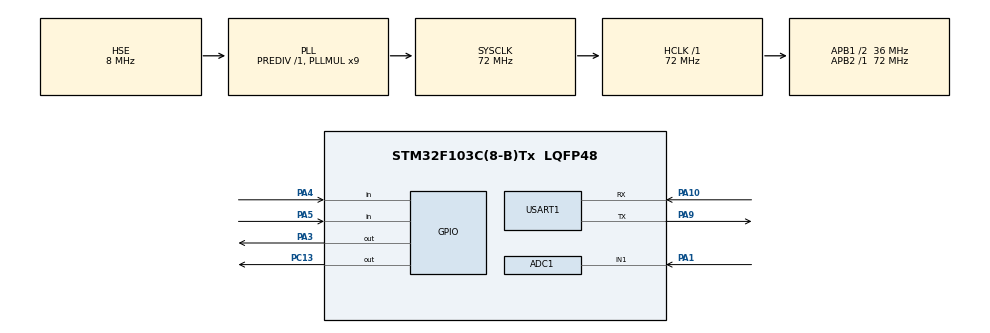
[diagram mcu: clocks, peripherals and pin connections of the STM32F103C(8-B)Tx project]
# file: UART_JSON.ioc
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ADC1.Channel-0\#ChannelRegularConversion=ADC_CHANNEL_1
ADC1.NbrOfConversionFlag=1
ADC1.Rank-0\#ChannelRegularConversion=1
ADC1.SamplingTime-0\#ChannelRegularConversion=ADC_SAMPLETIME_1CYCLE_5
ADC1.master=1
Mcu.Family=STM32F1
Mcu.Name=STM32F103C(8-B)Tx
Mcu.Package=LQFP48
NVIC.PriorityGroup=NVIC_PRIORITYGROUP_4
NVIC.USART1_IRQn=true\:1\:0\:true\:false\:true\:true\:true\:true
PA1.Signal=ADCx_IN1
PA10.Mode=Asynchronous
PA10.Signal=USART1_RX
PA13.Mode=Serial_Wire
PA13.Signal=SYS_JTMS-SWDIO
PA14.Mode=Serial_Wire
PA14.Signal=SYS_JTCK-SWCLK
PA3.Signal=GPIO_Output
PA4.GPIO_PuPd=GPIO_PULLUP
PA4.Signal=GPIO_Input
PA5.GPIO_PuPd=GPIO_PULLUP
PA5.Signal=GPIO_Input
PA9.Mode=Asynchronous
PA9.Signal=USART1_TX
PC13-TAMPER-RTC.PinState=GPIO_PIN_SET
PC13-TAMPER-RTC.Signal=GPIO_Output
PD0-OSC_IN.Mode=HSE-External-Oscillator
PD0-OSC_IN.Signal=RCC_OSC_IN
PD1-OSC_OUT.Mode=HSE-External-Oscillator
PD1-OSC_OUT.Signal=RCC_OSC_OUT
ProjectManager.HeapSize=0x200
ProjectManager.StackSize=0x400
ProjectManager.TargetToolchain=MDK-ARM V5.32
RCC.ADCPresc=RCC_ADCPCLK2_DIV6
RCC.AHBFreq_Value=72000000
RCC.APB1CLKDivider=RCC_HCLK_DIV2
RCC.APB1Freq_Value=36000000
RCC.APB1TimFreq_Value=72000000
RCC.APB2Freq_Value=72000000
RCC.APB2TimFreq_Value=72000000
RCC.HCLKFreq_Value=72000000
RCC.PLLMUL=RCC_PLL_MUL9
RCC.PLLSourceVirtual=RCC_PLLSOURCE_HSE
RCC.SYSCLKFreq_VALUE=72000000
RCC.SYSCLKSource=RCC_SYSCLKSOURCE_PLLCLK
RCC.USBFreq_Value=72000000
SH.ADCx_IN1.0=ADC1_IN1,IN1
USART1.VirtualMode=VM_ASYNC
board=custom

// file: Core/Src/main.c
/* USER CODE BEGIN Header */
/**
  ******************************************************************************
  * @file           : main.c
  * @brief          : Main program body
  ******************************************************************************
  * @attention
  *
  * Copyright (c) 2022 STMicroelectronics.
  * All rights reserved.
  *
  * This software is licensed under terms that can be found in the LICENSE file
  * in the root directory of this software component.
  * If no LICENSE file comes with this software, it is provided AS-IS.
  *
  ******************************************************************************
  */
/* USER CODE END Header */
#include "main.h"

/* USER CODE BEGIN Includes */
#include "stdio.h"
#include <stdint.h>
#include <stdbool.h>
#include <string.h>
#include <stdlib.h>
#include "cJSON.h"
/* USER CODE END Includes */

 ADC_HandleTypeDef hadc1;

UART_HandleTypeDef huart1;

void SystemClock_Config(void);
static void MX_GPIO_Init(void);
static void MX_ADC1_Init(void);
static void MX_USART1_UART_Init(void);

/* USER CODE BEGIN 0 */
void SendData(unsigned int ND, unsigned int DA, unsigned int trangthaiden, unsigned int trangthaiquat, unsigned int C1, unsigned int C2);
void ChuongtrinhCB();
void Received(void);
void HAL_UART_RxCpltCallback(UART_HandleTypeDef *huart);
void clearBuffer(void);
void XuLyJSON(char *DataJSON);
void Button(void);
int i = 0;
unsigned int ND = 0;
unsigned int DA = 0;
unsigned int trangthaiden = 0;
unsigned int trangthaiquat = 0;
unsigned int C1 = 0;
unsigned int C2 = 0;

char Str_ND[100];
char Str_DA[100];
char Str_TB1[100];
char Str_TB2[100];
char Str_C1[100];
char Str_C2[100];
char JSON[100];
char rx_buffer[200];

uint8_t rx_data;
unsigned int Index = 0;
long last;

cJSON *str_json, *str_TB1, *str_TB2, *str_C1, *str_C2, *str_Mode;
/* USER CODE END 0 */

int main(void)
{

  /* MCU Configuration--------------------------------------------------------*/

  /* Reset of all peripherals, Initializes the Flash interface and the Systick. */
  HAL_Init();

  /* Configure the system clock */
  SystemClock_Config();

  /* Initialize all configured peripherals */
  MX_GPIO_Init();
  MX_ADC1_Init();
  MX_USART1_UART_Init();
  /* USER CODE BEGIN 2 */
	HAL_UART_Receive_IT(&huart1,&rx_data,1);
	last = HAL_GetTick();
  /* USER CODE END 2 */

  /* Infinite loop */
  while (1)
  {

    /* USER CODE BEGIN 3 */

		//SendData(ND, DA, trangthaiden,  trangthaiquat, C1, C2);
		//HAL_Delay(1000);
		Button();
		if(HAL_GetTick()-last>=1000)
		{
			ChuongtrinhCB();
			SendData(ND,DA,trangthaiden,trangthaiquat,C1,C2);
			last = HAL_GetTick();
		}
  }
  /* USER CODE END 3 */
}

void Button(void)
{
	if(HAL_GPIO_ReadPin(GPIOA,GPIO_PIN_4) == 0)
	{
		HAL_Delay(200);
		last = HAL_GetTick();
		if(HAL_GPIO_ReadPin(GPIOA, GPIO_PIN_4) == 1)
		{
			if(trangthaiden == 0)
			{
				HAL_GPIO_WritePin(GPIOC, GPIO_PIN_13, GPIO_PIN_RESET);
				trangthaiden = 1;
			}
			else if( trangthaiden == 1)
			{
				HAL_GPIO_WritePin(GPIOC, GPIO_PIN_13,GPIO_PIN_SET);
				trangthaiden = 0;
			}
			HAL_Delay(200);
			last = HAL_GetTick();
		}
	}
	if(HAL_GPIO_ReadPin(GPIOA, GPIO_PIN_5) == 0)
	{
		HAL_Delay(200);
		last = HAL_GetTick();
		if(HAL_GPIO_ReadPin(GPIOA, GPIO_PIN_5) == 1)
		{
			if(trangthaiquat == 0)
			{
				HAL_GPIO_WritePin(GPIOA, GPIO_PIN_3, GPIO_PIN_SET);
				trangthaiquat = 1;
			}
			else if(trangthaiquat == 1)
			{
				HAL_GPIO_WritePin(GPIOA, GPIO_PIN_3, GPIO_PIN_RESET);
				trangthaiquat = 0;
			}
			HAL_Delay(200);
			last = HAL_GetTick();
		}
	}
}

void HAL_UART_RxCpltCallback(UART_HandleTypeDef *huart)
{
	if(huart->Instance == huart1.Instance)
	{
		//chuong trinh doc du lieu => mang data
		last = HAL_GetTick();
		Received();
		HAL_UART_Receive_IT(&huart1,&rx_data,1);
	}

}

void Received(void)
{
	//rx_buffer
	if(rx_data != '\n')
	{
		rx_buffer[Index++] = rx_data;
	}
	else
	{
		//xu ly hien cai gi day

		strcat(rx_buffer,"\n");
		int i =0;
		while(rx_buffer[i] != 0)
		{
			unsigned char Send=rx_buffer[i];
			HAL_UART_Transmit(&huart1,&Send, 1, 1);
			i++;
		}

		XuLyJSON(rx_buffer);
		clearBuffer();
	}
}

void XuLyJSON(char *DataJSON)
{
	str_json = cJSON_Parse(DataJSON);
	if(!str_json)
	{
		char *error = "JSON ERROR!\r\n";
		HAL_UART_Transmit(&huart1,(uint8_t *)error, strlen(error),1);
		return;
	}
	else
	{
		char *OK = "JSON OK!\r\n";
		HAL_UART_Transmit(&huart1,(uint8_t *)OK, strlen(OK),1);
		//("TB1":"1-0")
		if(cJSON_GetObjectItem(str_json, "TB1"))
		{
			if(strstr(cJSON_GetObjectItem(str_json, "TB1")->valuestring,"0") != NULL)
			{
				char *TT1 = "OFF LED 1\r\n";
		    HAL_UART_Transmit(&huart1,(uint8_t *)TT1, strlen(TT1),1);
				HAL_GPIO_WritePin(GPIOC, GPIO_PIN_13, GPIO_PIN_SET);
				trangthaiden = 0;
			}
			else if(strstr(cJSON_GetObjectItem(str_json,"TB1")->valuestring,"1")!=NULL)
			{
				char *TT1 = "ON LED 1\r\n";
		    HAL_UART_Transmit(&huart1,(uint8_t *)TT1, strlen(TT1),1);
				HAL_GPIO_WritePin(GPIOC, GPIO_PIN_13, GPIO_PIN_RESET);
				trangthaiden = 1;
			}
		}
		if(cJSON_GetObjectItem(str_json, "TB2"))
		{
			if(strstr(cJSON_GetObjectItem(str_json, "TB2")->valuestring,"0") != NULL)
			{
				char *TT2 = "OFF LED 2\r\n";
		    HAL_UART_Transmit(&huart1,(uint8_t *)TT2, strlen(TT2),1);
				HAL_GPIO_WritePin(GPIOA, GPIO_PIN_3, GPIO_PIN_RESET);
				trangthaiquat = 0;
			}
			else if(strstr(cJSON_GetObjectItem(str_json,"TB2")->valuestring,"1")!=NULL)
			{
				char *TT2 = "ON LED 2\r\n";
		    HAL_UART_Transmit(&huart1,(uint8_t *)TT2, strlen(TT2),1);
				HAL_GPIO_WritePin(GPIOA, GPIO_PIN_3, GPIO_PIN_SET);
				trangthaiquat = 1;
			}
		}
		if(cJSON_GetObjectItem(str_json, "C1"))
		{
			char *TD1 = cJSON_GetObjectItem(str_json,"C1")->valuestring;
			C1 = atoi(TD1);//atoi chuyen ve so nguyen
			strcat(TD1,"\n");
		  HAL_UART_Transmit(&huart1,(uint8_t *)TD1, strlen(TD1),1);
		}
		if(cJSON_GetObjectItem(str_json, "C2"))
		{
			char *TD2 = cJSON_GetObjectItem(str_json,"C2")->valuestring;
			C2 = atoi(TD2);
			strcat(TD2,"\n");
			HAL_UART_Transmit(&huart1,(uint8_t *)TD2, strlen(TD2),1);
		}
		cJSON_Delete(str_json);
	}
}

void clearBuffer(void)
{
	Index = 0;
	for(int i = 0; i < 200; i++)
	{
		rx_buffer[i] = 0;
	}
	last = HAL_GetTick();
}
void SendData(unsigned int ND, unsigned int DA, unsigned int trangthaiden, unsigned int trangthaiquat, unsigned int C1, unsigned int C2)
{

	//xoa mang du lieu
	for(int i = 0; i < 100; i++)
	{
		JSON[i] = 0;
		Str_ND[i] = 0;
		Str_DA[i] = 0;
		Str_C1[i] = 0;
		Str_C2[i] = 0;
		Str_TB1[i] = 0;
		Str_TB2[i] = 0;
	}
	//Truyen du lieu vao ve char
	sprintf(Str_ND, "%d", ND);
	sprintf(Str_DA, "%d", DA);
	sprintf(Str_TB1, "%d", trangthaiden);
	sprintf(Str_TB2, "%d", trangthaiquat);
	sprintf(Str_C1, "%d", C1);
	sprintf(Str_C2, "%d", C2);

	//{"ND":"123","DA":"456"}
	strcat(JSON,"{\"ND\":\"");
	strcat(JSON,Str_ND);
	strcat(JSON,"\",");

	strcat(JSON,"\"DA\":\"");
	strcat(JSON,Str_DA);
	strcat(JSON,"\",");

	strcat(JSON,"\"TB1\":\"");
	strcat(JSON,Str_TB1);
	strcat(JSON,"\",");

	strcat(JSON,"\"TB2\":\"");
	strcat(JSON,Str_TB2);
	strcat(JSON,"\",");

	strcat(JSON,"\"C1\":\"");
	strcat(JSON,Str_C1);
	strcat(JSON,"\",");

	strcat(JSON,"\"C2\":\"");
	strcat(JSON,Str_C2);

	strcat(JSON,"\"}");
	strcat(JSON,"\n");
	int i=0;

	while(JSON[i]!=0)
	{
		unsigned char Send=JSON[i];
		HAL_UART_Transmit(&huart1, &Send, 1, 1);
		i++;
	}
}

void ChuongtrinhCB(void)
{
	ND++;
	DA = DA + 2;
}
void SystemClock_Config(void)
{
  RCC_OscInitTypeDef RCC_OscInitStruct = {0};
  RCC_ClkInitTypeDef RCC_ClkInitStruct = {0};
  RCC_PeriphCLKInitTypeDef PeriphClkInit = {0};

  /** Initializes the RCC Oscillators according to the specified parameters
  * in the RCC_OscInitTypeDef structure.
  */
  RCC_OscInitStruct.OscillatorType = RCC_OSCILLATORTYPE_HSE;
  RCC_OscInitStruct.HSEState = RCC_HSE_ON;
  RCC_OscInitStruct.HSEPredivValue = RCC_HSE_PREDIV_DIV1;
  RCC_OscInitStruct.HSIState = RCC_HSI_ON;
  RCC_OscInitStruct.PLL.PLLState = RCC_PLL_ON;
  RCC_OscInitStruct.PLL.PLLSource = RCC_PLLSOURCE_HSE;
  RCC_OscInitStruct.PLL.PLLMUL = RCC_PLL_MUL9;
  if (HAL_RCC_OscConfig(&RCC_OscInitStruct) != HAL_OK)
  {
    Error_Handler();
  }

  /** Initializes the CPU, AHB and APB buses clocks
  */
  RCC_ClkInitStruct.ClockType = RCC_CLOCKTYPE_HCLK|RCC_CLOCKTYPE_SYSCLK
                              |RCC_CLOCKTYPE_PCLK1|RCC_CLOCKTYPE_PCLK2;
  RCC_ClkInitStruct.SYSCLKSource = RCC_SYSCLKSOURCE_PLLCLK;
  RCC_ClkInitStruct.AHBCLKDivider = RCC_SYSCLK_DIV1;
  RCC_ClkInitStruct.APB1CLKDivider = RCC_HCLK_DIV2;
  RCC_ClkInitStruct.APB2CLKDivider = RCC_HCLK_DIV1;

  if (HAL_RCC_ClockConfig(&RCC_ClkInitStruct, FLASH_LATENCY_2) != HAL_OK)
  {
    Error_Handler();
  }
  PeriphClkInit.PeriphClockSelection = RCC_PERIPHCLK_ADC;
  PeriphClkInit.AdcClockSelection = RCC_ADCPCLK2_DIV6;
  if (HAL_RCCEx_PeriphCLKConfig(&PeriphClkInit) != HAL_OK)
  {
    Error_Handler();
  }
}

static void MX_ADC1_Init(void)
{

  ADC_ChannelConfTypeDef sConfig = {0};

  /** Common config
  */
  hadc1.Instance = ADC1;
  hadc1.Init.ScanConvMode = ADC_SCAN_DISABLE;
  hadc1.Init.ContinuousConvMode = DISABLE;
  hadc1.Init.DiscontinuousConvMode = DISABLE;
  hadc1.Init.ExternalTrigConv = ADC_SOFTWARE_START;
  hadc1.Init.DataAlign = ADC_DATAALIGN_RIGHT;
  hadc1.Init.NbrOfConversion = 1;
  if (HAL_ADC_Init(&hadc1) != HAL_OK)
  {
    Error_Handler();
  }

  /** Configure Regular Channel
  */
  sConfig.Channel = ADC_CHANNEL_1;
  sConfig.Rank = ADC_REGULAR_RANK_1;
  sConfig.SamplingTime = ADC_SAMPLETIME_1CYCLE_5;
  if (HAL_ADC_ConfigChannel(&hadc1, &sConfig) != HAL_OK)
  {
    Error_Handler();
  }

}

static void MX_USART1_UART_Init(void)
{

  huart1.Instance = USART1;
  huart1.Init.BaudRate = 115200;
  huart1.Init.WordLength = UART_WORDLENGTH_8B;
  huart1.Init.StopBits = UART_STOPBITS_1;
  huart1.Init.Parity = UART_PARITY_NONE;
  huart1.Init.Mode = UART_MODE_TX_RX;
  huart1.Init.HwFlowCtl = UART_HWCONTROL_NONE;
  huart1.Init.OverSampling = UART_OVERSAMPLING_16;
  if (HAL_UART_Init(&huart1) != HAL_OK)
  {
    Error_Handler();
  }

}

static void MX_GPIO_Init(void)
{
  GPIO_InitTypeDef GPIO_InitStruct = {0};

  /* GPIO Ports Clock Enable */
  __HAL_RCC_GPIOC_CLK_ENABLE();
  __HAL_RCC_GPIOD_CLK_ENABLE();
  __HAL_RCC_GPIOA_CLK_ENABLE();

  /*Configure GPIO pin Output Level */
  HAL_GPIO_WritePin(GPIOC, GPIO_PIN_13, GPIO_PIN_SET);

  /*Configure GPIO pin Output Level */
  HAL_GPIO_WritePin(GPIOA, GPIO_PIN_3, GPIO_PIN_RESET);

  /*Configure GPIO pin : PC13 */
  GPIO_InitStruct.Pin = GPIO_PIN_13;
  GPIO_InitStruct.Mode = GPIO_MODE_OUTPUT_PP;
  GPIO_InitStruct.Pull = GPIO_NOPULL;
  GPIO_InitStruct.Speed = GPIO_SPEED_FREQ_LOW;
  HAL_GPIO_Init(GPIOC, &GPIO_InitStruct);

  /*Configure GPIO pin : PA3 */
  GPIO_InitStruct.Pin = GPIO_PIN_3;
  GPIO_InitStruct.Mode = GPIO_MODE_OUTPUT_PP;
  GPIO_InitStruct.Pull = GPIO_NOPULL;
  GPIO_InitStruct.Speed = GPIO_SPEED_FREQ_LOW;
  HAL_GPIO_Init(GPIOA, &GPIO_InitStruct);

  /*Configure GPIO pins : PA4 PA5 */
  GPIO_InitStruct.Pin = GPIO_PIN_4|GPIO_PIN_5;
  GPIO_InitStruct.Mode = GPIO_MODE_INPUT;
  GPIO_InitStruct.Pull = GPIO_PULLUP;
  HAL_GPIO_Init(GPIOA, &GPIO_InitStruct);

}

void Error_Handler(void)
{
  __disable_irq();
  while (1)
  {
  }
}
